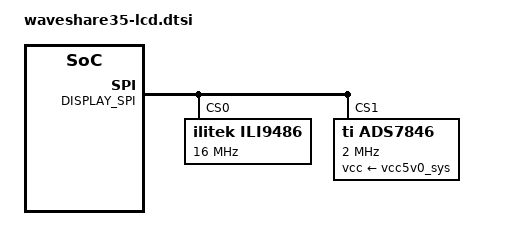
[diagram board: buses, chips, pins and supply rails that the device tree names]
#ifndef __WAVESHARE35_LCD_DTSI__
#define __WAVESHARE35_LCD_DTSI__

#include <dt-bindings/gpio/gpio.h>
#include <dt-bindings/pinctrl/rockchip.h>
#include <dt-bindings/interrupt-controller/irq.h>

/dts-v1/;
/plugin/;

#ifndef DISPLAY_SPI
#error "DISPLAY_SPI is undefined."
#endif

&DISPLAY_SPI {
	status = "okay";
	#address-cells = <1>;
	#size-cells = <0>;

	ili9486: ili9486@0 {
		compatible = "ilitek,ili9486";
		reg = <0>;
		spi-max-frequency = <16000000>;
		txbuflen = <32768>;
		rotate = <90>;
		bgr = <0>;
		fps = <30>;
		buswidth = <8>;
		regwidth = <16>;
		debug = <0>;
	};

	ads7846: ads7846@1 {
		compatible = "ti,ads7846";
		status = "okay";
		reg = <1>; 
		id = <1>;
		spi-max-frequency = <2000000>;
		ti,x-plate-ohms = /bits/ 16 <60>;
		ti,pressure-max = /bits/ 16 <255>;
		ti,swap-xy = <0>;
		ti,invert-y = <1>;
		vcc-supply = <&vcc5v0_sys>;
	};
};

#endif // __WAVESHARE35_LCD_DTSI__
